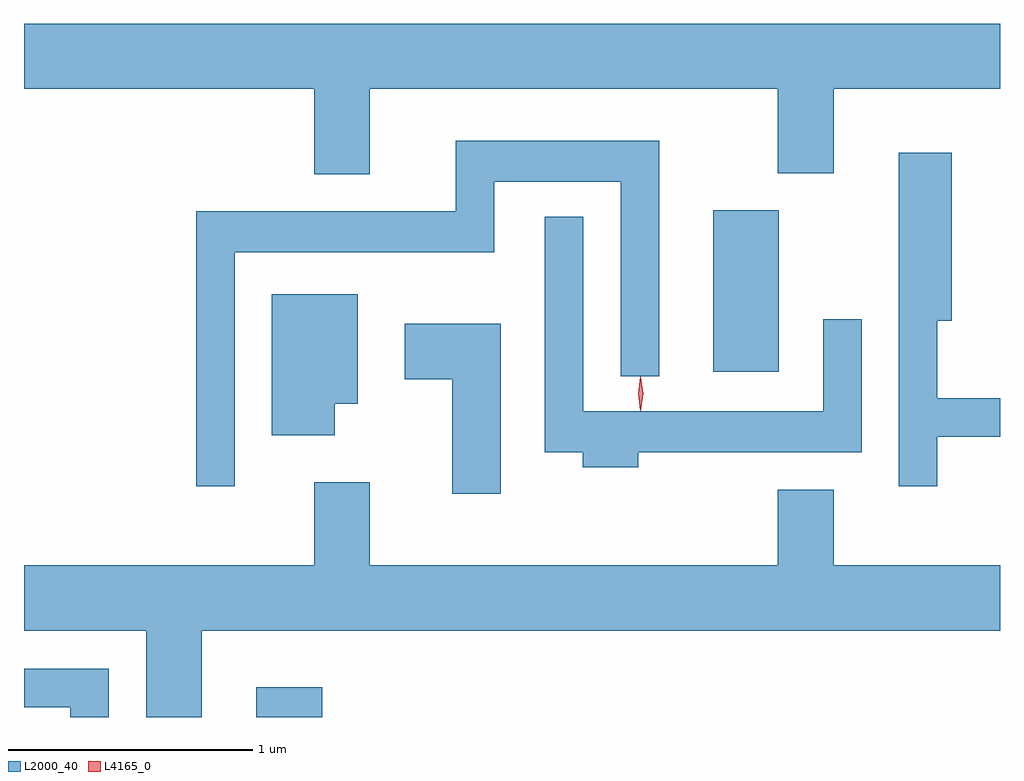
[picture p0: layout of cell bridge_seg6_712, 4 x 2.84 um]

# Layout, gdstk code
import gdstk
lib = gdstk.Library(unit=1e-6, precision=1e-09)
def R(c, l, rs):  # rectangles x0, y0, x1, y1
    for r in rs: c.add(gdstk.rectangle(r[:2], r[2:], *l))
def P(c, l, *ps):  # polygons
    for p in ps: c.add(gdstk.Polygon(p, *l))
L2000_40 = (2000, 40)
L4165_0 = (4165, 0)

bridge_seg6_712 = lib.new_cell('bridge_seg6_712')
R(bridge_seg6_712, L2000_40, [(524.553,1538.58,524.824,1538.704), (526.426,1539.996,526.694,1540.659)])
P(bridge_seg6_712, L2000_40, [(525.019,1541.156),(526.691,1541.156),(526.691,1540.811),(526.919,1540.811),(526.919,1541.156),(527.601,1541.156),(527.601,1541.424),(523.601,1541.424),(523.601,1541.156),(524.791,1541.156),(524.791,1540.806),(525.019,1540.806)],
  [(524.464,1540.486),(525.529,1540.486),(525.529,1540.776),(526.046,1540.776),(526.046,1539.978),(526.204,1539.978),(526.204,1540.944),(525.371,1540.944),(525.371,1540.654),(524.306,1540.654),(524.306,1539.528),(524.464,1539.528)],
  [(527.344,1539.731),(527.601,1539.731),(527.601,1539.889),(527.344,1539.889),(527.344,1540.206),(527.404,1540.206),(527.404,1540.894),(527.186,1540.894),(527.186,1539.528),(527.344,1539.528)],
  [(526.119,1539.666),(527.034,1539.666),(527.034,1540.213),(526.876,1540.213),(526.876,1539.834),(525.894,1539.834),(525.894,1540.633),(525.736,1540.633),(525.736,1539.666),(525.891,1539.666),(525.891,1539.606),(526.119,1539.606)],
  [(524.874,1539.866),(524.969,1539.866),(524.969,1540.314),(524.616,1540.314),(524.616,1539.736),(524.874,1539.736)],
  [(525.554,1540.194),(525.161,1540.194),(525.161,1539.966),(525.356,1539.966),(525.356,1539.496),(525.554,1539.496)],
  [(524.329,1538.936),(527.601,1538.936),(527.601,1539.204),(526.919,1539.204),(526.919,1539.514),(526.691,1539.514),(526.691,1539.204),(525.019,1539.204),(525.019,1539.544),(524.791,1539.544),(524.791,1539.204),(523.601,1539.204),(523.601,1538.936),(524.101,1538.936),(524.101,1538.58),(524.329,1538.58)],
  [(523.949,1538.779),(523.601,1538.779),(523.601,1538.621),(523.791,1538.621),(523.791,1538.58),(523.949,1538.58)])
P(bridge_seg6_712, L4165_0, [(526.128,1539.839),(526.128,1539.84),(526.118,1539.906),(526.127,1539.972),(526.128,1539.973),(526.128,1539.972),(526.138,1539.906),(526.128,1539.84)],
  [(526.128,1539.837),(526.127,1539.838),(526.118,1539.907),(526.127,1539.976),(526.128,1539.976),(526.128,1539.976),(526.138,1539.907),(526.128,1539.838)])

lib.write_gds('bridge_seg6_712.gds')
